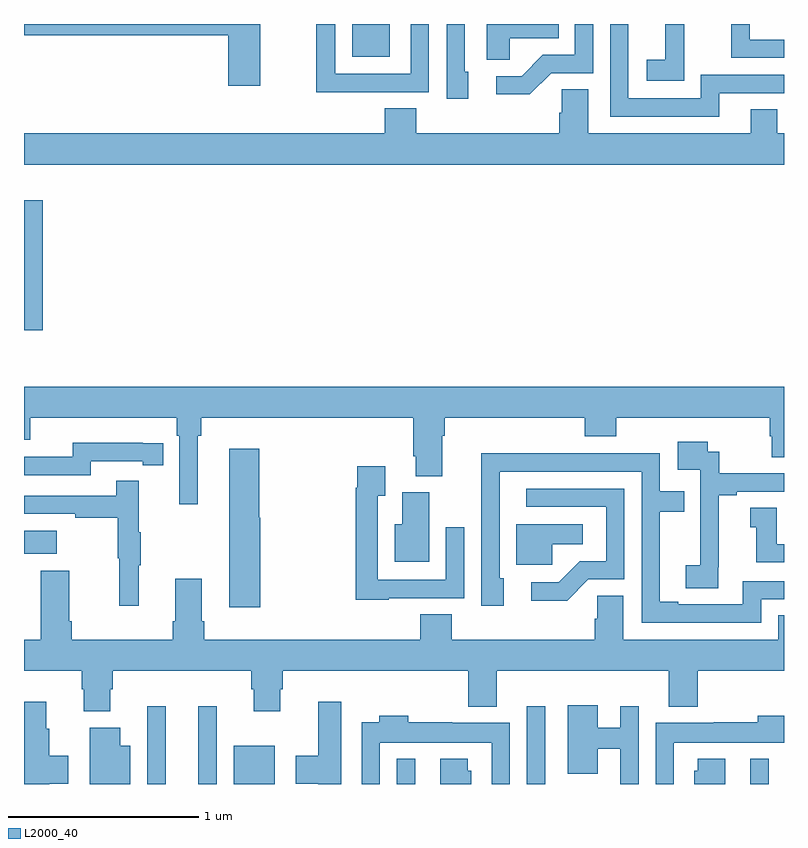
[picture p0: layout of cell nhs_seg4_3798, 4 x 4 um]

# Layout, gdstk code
import gdstk
lib = gdstk.Library(unit=1e-6, precision=1e-09)
def R(c, l, rs):  # rectangles x0, y0, x1, y1
    for r in rs: c.add(gdstk.rectangle(r[:2], r[2:], *l))
def P(c, l, *ps):  # polygons
    for p in ps: c.add(gdstk.Polygon(p, *l))
L2000_40 = (2000, 40)

nhs_seg4_3798 = lib.new_cell('nhs_seg4_3798')
R(nhs_seg4_3798, L2000_40, [(311.649,786.9,311.746,787.309), (311.918,786.9,312.015,787.309), (312.104,786.9,312.319,787.102), (312.963,786.9,313.06,787.033), (313.647,786.9,313.743,787.309), (314.822,786.9,314.919,787.033), (311,788.111,311.173,788.233), (311,789.288,311.099,789.973), (312.728,790.727,312.925,790.9)])
P(nhs_seg4_3798, L2000_40, [(314.475,790.807),(314.474,790.807),(314.474,790.9),(314.375,790.9),(314.375,790.711),(314.277,790.711),(314.277,790.601),(314.475,790.601)],
  [(312.244,790.9),(311,790.9),(311,790.84),(312.074,790.84),(312.074,790.575),(312.244,790.575)],
  [(313.557,790.826),(313.814,790.826),(313.814,790.9),(313.436,790.9),(313.436,790.711),(313.557,790.711)],
  [(313.776,790.641),(313.995,790.641),(313.995,790.9),(313.899,790.9),(313.899,790.737),(313.73,790.737),(313.619,790.626),(313.485,790.626),(313.485,790.529),(313.663,790.529)],
  [(312.815,790.542),(313.131,790.542),(313.131,790.9),(313.035,790.9),(313.035,790.638),(312.639,790.638),(312.639,790.9),(312.538,790.9),(312.538,790.541),(312.815,790.541)],
  [(314.659,790.536),(315,790.536),(315,790.632),(314.562,790.632),(314.562,790.509),(314.181,790.509),(314.181,790.9),(314.085,790.9),(314.085,790.413),(314.659,790.413)],
  [(313.339,790.65),(313.32,790.65),(313.32,790.9),(313.224,790.9),(313.224,790.506),(313.339,790.506)],
  [(315,790.818),(314.82,790.818),(314.82,790.9),(314.722,790.9),(314.722,790.722),(315,790.722)],
  [(315,790.324),(314.964,790.324),(314.964,790.451),(314.825,790.451),(314.825,790.324),(313.969,790.324),(313.969,790.556),(313.83,790.556),(313.83,790.433),(313.817,790.433),(313.817,790.324),(313.064,790.324),(313.064,790.457),(312.899,790.457),(312.899,790.324),(311,790.324),(311,790.16),(315,790.16)],
  [(311.914,788.732),(311.933,788.732),(311.933,788.828),(313.049,788.828),(313.049,788.626),(313.061,788.626),(313.061,788.521),(313.201,788.521),(313.201,788.732),(313.214,788.732),(313.214,788.828),(313.952,788.828),(313.952,788.729),(314.117,788.729),(314.117,788.828),(314.924,788.828),(314.924,788.73),(314.936,788.73),(314.936,788.62),(315,788.62),(315,788.992),(311,788.992),(311,788.711),(311.032,788.711),(311.032,788.828),(311.804,788.828),(311.804,788.732),(311.817,788.732),(311.817,788.373),(311.914,788.373)],
  [(314.654,788.041),(314.656,788.041),(314.656,788.419),(314.752,788.419),(314.752,788.439),(315,788.439),(315,788.535),(314.66,788.535),(314.66,788.649),(314.598,788.649),(314.598,788.701),(314.442,788.701),(314.442,788.553),(314.559,788.553),(314.559,788.249),(314.558,788.249),(314.558,788.052),(314.484,788.052),(314.484,787.93),(314.654,787.93)],
  [(311.352,788.598),(311.624,788.598),(311.624,788.578),(311.732,788.578),(311.732,788.694),(311.624,788.694),(311.624,788.695),(311.256,788.695),(311.256,788.622),(311,788.622),(311,788.526),(311.352,788.526)],
  [(312.244,788.301),(312.239,788.301),(312.239,788.665),(312.08,788.665),(312.08,787.83),(312.244,787.83)],
  [(314.88,787.872),(315,787.872),(315,787.968),(314.784,787.968),(314.784,787.845),(314.443,787.845),(314.443,787.86),(314.347,787.86),(314.347,788.334),(314.474,788.334),(314.474,788.442),(314.346,788.442),(314.346,788.64),(313.868,788.64),(313.868,788.642),(313.406,788.642),(313.406,788.338),(313.407,788.338),(313.407,787.839),(313.525,787.839),(313.525,787.983),(313.503,787.983),(313.503,788.544),(314.25,788.544),(314.25,787.749),(314.88,787.749)],
  [(312.921,787.878),(313.317,787.878),(313.317,788.251),(313.221,788.251),(313.221,787.974),(312.861,787.974),(312.861,788.416),(312.901,788.416),(312.901,788.572),(312.753,788.572),(312.753,788.459),(312.745,788.459),(312.745,787.871),(312.921,787.871)],
  [(311.603,788.051),(311.614,788.051),(311.614,788.225),(311.603,788.225),(311.603,788.497),(311.485,788.497),(311.485,788.418),(311,788.418),(311,788.322),(311.269,788.322),(311.269,788.302),(311.493,788.302),(311.493,788.088),(311.5,788.088),(311.5,787.839),(311.603,787.839)],
  [(313.971,787.977),(314.16,787.977),(314.16,788.454),(313.644,788.454),(313.644,788.358),(314.064,788.358),(314.064,788.073),(313.926,788.073),(313.815,787.962),(313.671,787.962),(313.671,787.865),(313.858,787.865)],
  [(313.132,788.436),(312.992,788.436),(312.992,788.266),(312.95,788.266),(312.95,788.069),(313.132,788.069)],
  [(315,788.163),(314.962,788.163),(314.962,788.354),(314.822,788.354),(314.822,788.251),(314.855,788.251),(314.855,788.067),(315,788.067)],
  [(313.779,788.162),(313.942,788.162),(313.942,788.266),(313.592,788.266),(313.592,788.055),(313.779,788.055)],
  [(311.455,787.398),(311.468,787.398),(311.468,787.496),(312.197,787.496),(312.197,787.398),(312.209,787.398),(312.209,787.284),(312.349,787.284),(312.349,787.398),(312.362,787.398),(312.362,787.496),(313.337,787.496),(313.337,787.307),(313.489,787.307),(313.489,787.496),(314.393,787.496),(314.393,787.307),(314.546,787.307),(314.546,787.496),(315,787.496),(315,787.787),(314.969,787.787),(314.969,787.66),(314.155,787.66),(314.155,787.892),(314.016,787.892),(314.016,787.769),(314.003,787.769),(314.003,787.66),(313.25,787.66),(313.25,787.793),(313.085,787.793),(313.085,787.66),(311.948,787.66),(311.948,787.756),(311.935,787.756),(311.935,787.981),(311.795,787.981),(311.795,787.756),(311.783,787.756),(311.783,787.66),(311.252,787.66),(311.252,787.756),(311.239,787.756),(311.239,788.023),(311.087,788.023),(311.087,787.66),(311,787.66),(311,787.496),(311.303,787.496),(311.303,787.398),(311.315,787.398),(311.315,787.284),(311.455,787.284)],
  [(312.67,787.333),(312.548,787.333),(312.548,787.05),(312.431,787.05),(312.431,786.902),(312.548,786.902),(312.548,786.9),(312.67,786.9)],
  [(311.134,786.902),(311.233,786.902),(311.233,787.05),(311.134,787.05),(311.134,787.191),(311.116,787.191),(311.116,787.333),(311,787.333),(311,786.9),(311.134,786.9)],
  [(314.235,787.309),(314.139,787.309),(314.139,787.195),(314.02,787.195),(314.02,787.315),(313.862,787.315),(313.862,786.954),(314.02,786.954),(314.02,787.085),(314.139,787.085),(314.139,786.9),(314.235,786.9)],
  [(314.421,787.118),(315,787.118),(315,787.258),(314.861,787.258),(314.861,787.225),(314.629,787.225),(314.629,787.222),(314.325,787.222),(314.325,786.9),(314.421,786.9)],
  [(312.873,787.118),(313.461,787.118),(313.461,786.9),(313.557,786.9),(313.557,787.222),(313.253,787.222),(313.253,787.225),(313.022,787.225),(313.022,787.258),(312.869,787.258),(312.869,787.225),(312.777,787.225),(312.777,786.9),(312.873,786.9)],
  [(311.56,787.102),(311.506,787.102),(311.506,787.195),(311.345,787.195),(311.345,786.9),(311.56,786.9)],
  [(313.354,786.969),(313.336,786.969),(313.336,787.033),(313.19,787.033),(313.19,786.9),(313.354,786.9)],
  [(314.692,787.033),(314.546,787.033),(314.546,786.969),(314.528,786.969),(314.528,786.9),(314.692,786.9)])

lib.write_gds('nhs_seg4_3798.gds')
